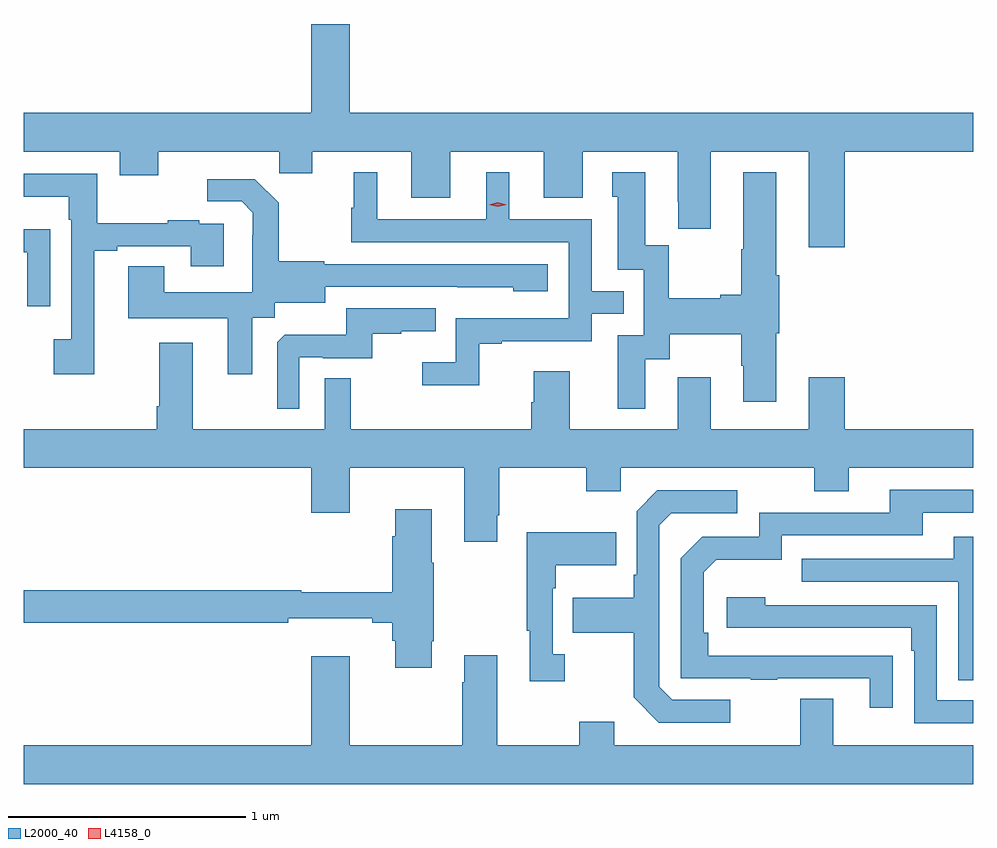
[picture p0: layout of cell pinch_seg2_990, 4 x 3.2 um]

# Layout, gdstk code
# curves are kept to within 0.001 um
import gdstk
lib = gdstk.Library(unit=1e-6, precision=1e-09)
def P(c, l, *ps):  # polygons
    for p in ps: c.add(gdstk.Polygon(p, *l))
L2000_40 = (2000, 40)
L4158_0 = (4158, 0)

pinch_seg2_990 = lib.new_cell('pinch_seg2_990')
P(pinch_seg2_990, L2000_40, [(167.258,620.996),(167.798,620.996),(167.798,621.16),(165.172,621.16),(165.172,621.535),(165.008,621.535),(165.008,621.16),(163.798,621.16),(163.798,620.996),(164.201,620.996),(164.201,620.897),(164.365,620.897),(164.365,620.996),(164.875,620.996),(164.875,620.906),(165.013,620.906),(165.013,620.996),(165.431,620.996),(165.431,620.802),(165.595,620.802),(165.595,620.996),(165.989,620.996),(165.989,620.802),(166.153,620.802),(166.153,620.996),(166.553,620.996),(166.553,620.785),(166.556,620.785),(166.556,620.673),(166.693,620.673),(166.693,620.996),(167.105,620.996),(167.105,620.595),(167.258,620.595)],
  [(166.417,620.122),(166.519,620.122),(166.519,620.228),(166.822,620.228),(166.822,620.094),(166.829,620.094),(166.829,619.944),(166.969,619.944),(166.969,620.232),(166.982,620.232),(166.982,620.476),(166.969,620.476),(166.969,620.911),(166.829,620.911),(166.829,620.585),(166.822,620.585),(166.822,620.393),(166.733,620.393),(166.733,620.38),(166.515,620.38),(166.515,620.603),(166.417,620.603),(166.417,620.911),(166.277,620.911),(166.277,620.808),(166.301,620.808),(166.301,620.499),(166.41,620.499),(166.41,620.223),(166.301,620.223),(166.301,619.914),(166.417,619.914)],
  [(165.717,620.187),(165.811,620.187),(165.811,620.199),(166.191,620.199),(166.191,620.313),(166.325,620.313),(166.325,620.409),(166.191,620.409),(166.191,620.712),(165.844,620.712),(165.844,620.911),(165.746,620.911),(165.746,620.712),(165.286,620.712),(165.286,620.911),(165.188,620.911),(165.188,620.76),(165.177,620.76),(165.177,620.616),(166.095,620.616),(166.095,620.295),(165.618,620.295),(165.618,620.11),(165.477,620.11),(165.477,620.012),(165.717,620.012)],
  [(164.095,620.58),(164.191,620.58),(164.191,620.598),(164.501,620.598),(164.501,620.514),(164.641,620.514),(164.641,620.694),(164.537,620.694),(164.537,620.707),(164.405,620.707),(164.405,620.696),(164.107,620.696),(164.107,620.904),(163.798,620.904),(163.798,620.807),(163.986,620.807),(163.986,620.711),(163.998,620.711),(163.998,620.206),(163.923,620.206),(163.923,620.058),(164.095,620.058)],
  [(164.761,620.296),(164.856,620.296),(164.856,620.36),(165.067,620.36),(165.067,620.427),(165.861,620.426),(165.861,620.408),(166.006,620.408),(166.006,620.523),(165.063,620.523),(165.063,620.536),(164.871,620.536),(164.871,620.781),(164.771,620.881),(164.571,620.881),(164.571,620.787),(164.715,620.787),(164.762,620.74),(164.762,620.645),(164.76,620.645),(164.76,620.404),(164.389,620.404),(164.389,620.513),(164.237,620.513),(164.237,620.294),(164.657,620.294),(164.657,620.058),(164.761,620.058)],
  [(163.908,620.671),(163.798,620.671),(163.798,620.574),(163.812,620.574),(163.812,620.346),(163.908,620.346)],
  [(164.958,620.13),(165.058,620.13),(165.058,620.127),(165.266,620.127),(165.266,620.229),(165.389,620.229),(165.389,620.24),(165.533,620.24),(165.533,620.337),(165.156,620.337),(165.156,620.225),(164.897,620.225),(164.865,620.193),(164.865,619.913),(164.958,619.913)],
  [(167.128,619.565),(167.275,619.565),(167.275,619.664),(167.798,619.664),(167.798,619.828),(167.258,619.828),(167.258,620.047),(167.105,620.047),(167.105,619.828),(166.693,619.828),(166.693,620.047),(166.553,620.047),(166.553,619.828),(166.099,619.828),(166.099,620.071),(165.947,620.071),(165.947,619.941),(165.935,619.941),(165.935,619.828),(165.175,619.828),(165.175,620.042),(165.066,620.042),(165.066,619.828),(164.509,619.828),(164.509,620.191),(164.369,620.191),(164.369,619.924),(164.357,619.924),(164.357,619.828),(163.798,619.828),(163.798,619.664),(165.008,619.664),(165.008,619.476),(165.172,619.476),(165.172,619.664),(165.653,619.664),(165.653,619.353),(165.793,619.353),(165.793,619.465),(165.801,619.465),(165.801,619.664),(166.168,619.664),(166.168,619.565),(166.314,619.565),(166.314,619.664),(167.128,619.664)],
  [(167.459,618.872),(166.682,618.873),(166.682,618.97),(166.662,618.97),(166.662,619.224),(166.715,619.277),(166.992,619.277),(166.992,619.38),(167.587,619.38),(167.587,619.476),(167.798,619.476),(167.798,619.572),(167.447,619.572),(167.447,619.476),(166.896,619.476),(166.896,619.374),(166.656,619.374),(166.566,619.284),(166.566,618.777),(166.861,618.777),(166.861,618.772),(166.973,618.772),(166.973,618.777),(167.363,618.777),(167.363,618.654),(167.459,618.654)],
  [(166.774,618.687),(166.53,618.687),(166.476,618.741),(166.476,619.422),(166.527,619.473),(166.804,619.473),(166.804,619.569),(166.467,619.569),(166.38,619.482),(166.38,619.213),(166.368,619.213),(166.368,619.117),(166.111,619.117),(166.111,618.97),(166.368,618.97),(166.368,618.697),(166.473,618.591),(166.774,618.591)],
  [(165.517,618.934),(165.525,618.934),(165.525,619.265),(165.517,619.265),(165.517,619.489),(165.362,619.489),(165.362,619.376),(165.35,619.376),(165.35,619.141),(164.966,619.141),(164.966,619.148),(163.798,619.148),(163.798,619.012),(164.912,619.012),(164.912,619.031),(165.266,619.031),(165.266,619.012),(165.35,619.012),(165.35,618.935),(165.362,618.935),(165.362,618.822),(165.517,618.822)],
  [(166.078,618.878),(166.026,618.878),(166.026,619.157),(166.039,619.157),(166.039,619.253),(166.295,619.253),(166.295,619.393),(165.918,619.393),(165.918,618.977),(165.929,618.977),(165.929,618.765),(166.078,618.765)],
  [(167.798,619.375),(167.717,619.375),(167.717,619.281),(167.077,619.281),(167.077,619.185),(167.736,619.185),(167.736,618.769),(167.798,618.769)],
  [(167.798,618.684),(167.646,618.684),(167.646,619.086),(166.922,619.086),(166.922,619.12),(166.761,619.12),(166.761,618.99),(167.537,618.99),(167.537,618.893),(167.55,618.893),(167.55,618.588),(167.798,618.588)],
  [(167.798,618.496),(167.209,618.496),(167.209,618.691),(167.069,618.691),(167.069,618.496),(166.285,618.496),(166.285,618.595),(166.138,618.595),(166.138,618.496),(165.793,618.496),(165.793,618.874),(165.653,618.874),(165.653,618.761),(165.646,618.761),(165.646,618.496),(165.172,618.496),(165.172,618.871),(165.008,618.871),(165.008,618.496),(163.798,618.496),(163.798,618.332),(167.798,618.332)])
P(pinch_seg2_990, L4158_0, [(165.795,620.764),(165.76,620.774),(165.759,620.774),(165.76,620.774),(165.795,620.784),(165.83,620.774),(165.831,620.774),(165.83,620.774)])

lib.write_gds('pinch_seg2_990.gds')
